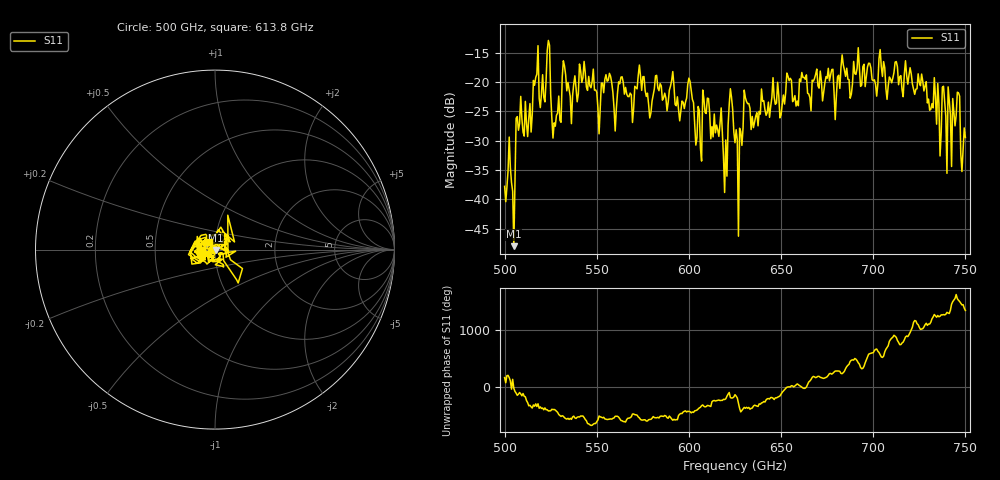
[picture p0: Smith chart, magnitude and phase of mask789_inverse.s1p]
!Created with skrf (http://scikit-rf.org).
# GHz S MA R 50.0
!freq magS11 angS11
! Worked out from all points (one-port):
!   401 points, 500 GHz to 750 GHz, reference 50 ohm
!   lowest |S11| = -48.0 dB at 505 GHz (marker M1), VSWR 1.01, Z = 50.4 - j0.15 ohm
!   |S11| at or under -10 dB: start of sweep to end of sweep
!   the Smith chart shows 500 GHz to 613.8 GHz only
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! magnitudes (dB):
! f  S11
! 500 GHz  -37.8
! 505 GHz  -48.0
! 507.5 GHz  -28.2
! 513.8 GHz  -23.7
! 516.9 GHz  -19.2
! 520.6 GHz  -18.7
! 523.8 GHz  -12.9
! 526.9 GHz  -26.9
! 531.2 GHz  -19.2
! 556.2 GHz  -19.7
! 560 GHz  -28.3
! 562.5 GHz  -20.3
! 593.8 GHz  -22.5
! 600.6 GHz  -19.9
! 605.6 GHz  -24.9
! 608.8 GHz  -25.2
! 619.4 GHz  -38.8
! 622.5 GHz  -21.1
! 625 GHz  -30.3
! 627.5 GHz  -27.9
! 631.2 GHz  -23.3
! 635 GHz  -27.8
! 656.2 GHz  -23.3
! 687.5 GHz  -22.7
! 718.8 GHz  -20.4
! 741.2 GHz  -23.1
! 745.6 GHz  -21.7
! 750 GHz  -29.5
